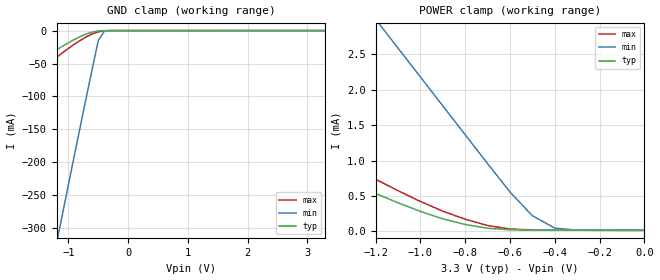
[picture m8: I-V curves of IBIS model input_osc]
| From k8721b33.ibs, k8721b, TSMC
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|   Model input_osc
[Model]   input_osc
Model_type   Input
Polarity   Non-Inverting
Vinl =   0.8V
Vinh =   2.0V
C_comp   1.96e-12F   2.11e-12F   1.75e-12F
[Temperature Range]   25   125   0
[Voltage Range]   3.30V   3.00V   3.60V
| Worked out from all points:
|   GND clamp passes 1 mA (typ) near -0.53 V on its own axis
|   POWER clamp passes 1 mA (typ) near -1.51 V on its own axis
[POWER_clamp]
| voltage   I(typ)   I(min)   I(max)
-3.3V     4.366mA    11.58mA    5.056mA
-2.5V     2.79mA     8.301mA    3.321mA
-2.3V     2.408mA    7.482mA    2.894mA
-2.2V     2.22mA     7.073mA    2.683mA
-1.7V     1.32mA     5.031mA    1.659mA
-1.2V     537.1uA    2.993mA    737.6uA
-1.1V     404.5uA    2.586mA    575.2uA
-800mV    98.86uA    1.364mA    173.2uA
-600mV    24.32uA    557uA      34.77uA
-500mV    19.47uA    222.5uA    21.71uA
-400mV    18.43uA    47.86uA    19.98uA
0V        16.42uA    14.91uA    17.93uA
[GND_clamp]
| voltage   I(typ)   I(min)   I(max)
-3.3V     -149.3mA   -1.276A    -177.3mA
-2.9V     -129.5mA   -1.096A    -155.9mA
-2.4V     -102.1mA   -868.9mA   -125.3mA
-1.9V     -71.95mA   -641.1mA   -91.24mA
-1.2V     -29.35mA   -323.2mA   -40.69mA
-1.1V     -23.74mA   -278.2mA   -33.71mA
-800mV    -8.991mA   -144.5mA   -14.72mA
-600mV    -2.222mA   -57.31mA   -5.016mA
-500mV    -529.6uA   -14.8mA    -1.799mA
-400mV    -69.21uA   -927uA     -296.7uA
3.3V      16.42uA    18.39uA    16.43uA
